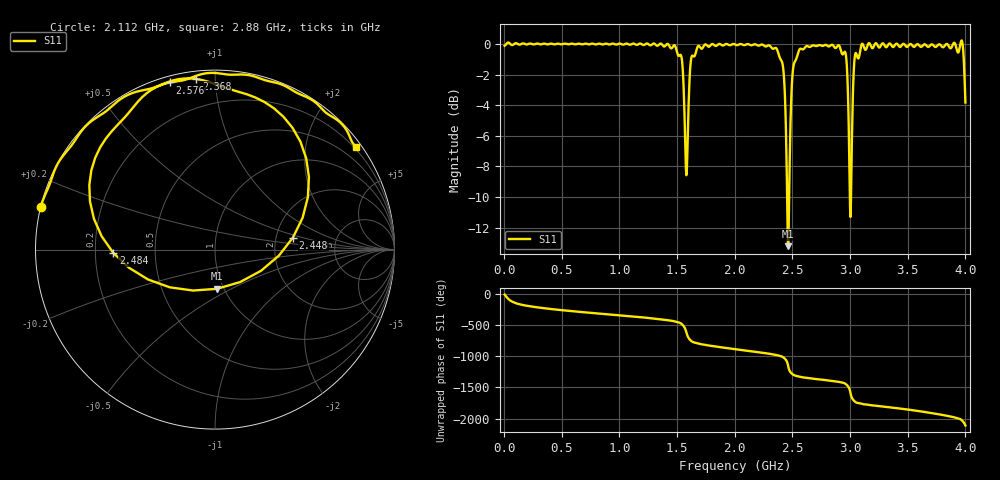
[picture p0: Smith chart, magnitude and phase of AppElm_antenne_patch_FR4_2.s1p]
! TOUCHSTONE file generated by CST MICROWAVE STUDIO
! Date and time: Tue Jun 14 13:15:10 2022
! Project name: AppElm_antenne_patch_FR4.cst
! Parameters = {L=45; W=58.5; e=0.035; h=1.6; lambda=0.190476; ls=120; w0=2.54; w1=0.847; ws=120; y0=14.4; y1=23.8}
! Header version: 2018
! Port assignment regex: !\s*Touchstone port\s*([0-9]+)\s*=\s*(CST MWS port|CST DS port)\s*([0-9]+|Zmin|Zmax)\s*\(\"(.*)\"\)(\s*mode\s*([0-9]+))?.*
! Touchstone port assignment:
! Touchstone port 1 = CST MWS port 1 ("")
# GHz S MA R 50
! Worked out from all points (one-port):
!   1000 points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, 4 MHz to 4 GHz, reference 50 ohm
!   lowest |S11| = -13.2 dB at 2.464 GHz (marker M1), VSWR 1.56, Z = 46.4 - j21.3 ohm
!   |S11| at or under -10 dB: 2.454 GHz to 2.471 GHz (17.31 MHz wide, 0.703 % of centre); 2.998421 GHz to 3.008122 GHz (9.701 MHz wide, 0.323 % of centre)
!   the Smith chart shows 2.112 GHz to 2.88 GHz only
!   S11 on the Smith chart (normalised r, x): 2.112 GHz: 0.00, +0.12; 2.368 GHz: 0.04, +0.90; 2.448 GHz: 2.49, +0.41; 2.484 GHz: 0.28, -0.02; 2.576 GHz: 0.03, +0.77; 2.88 GHz: 0.15, +3.06
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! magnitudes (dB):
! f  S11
! 4 MHz  -0.1
! 504 MHz  0.0
! 1.004 GHz  0.0
! 1.504 GHz  -0.7
! 1.54 GHz  -0.9
! 1.58 GHz  -8.6
! 1.592 GHz  -6.1
! 1.62 GHz  -1.1
! 1.64 GHz  -0.8
! 2.004 GHz  0.0
! 2.112 GHz  0.0
! 2.368 GHz  -0.4
! 2.42 GHz  -1.6
! 2.448 GHz  -7.1
! 2.464 GHz  -13.2
! 2.484 GHz  -4.9
! 2.504 GHz  -1.7
! 2.576 GHz  -0.3
! 2.88 GHz  -0.2
! 2.96 GHz  -0.6
! 2.992 GHz  -6.9
! 3.004 GHz  -11.3
! 3.016 GHz  -6.2
! 3.04 GHz  -0.9
! 3.056 GHz  -0.7
! 3.504 GHz  -0.1
! 3.964 GHz  0.2
! 4 GHz  -3.8
